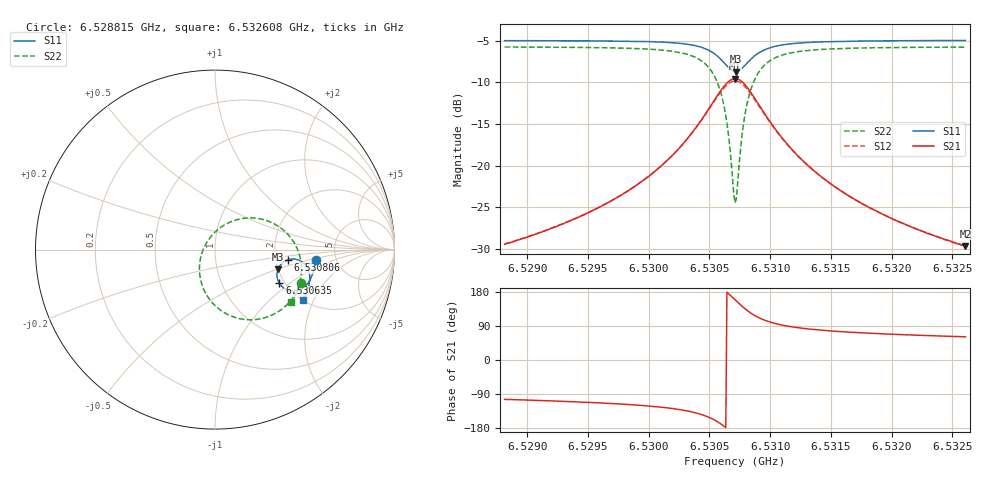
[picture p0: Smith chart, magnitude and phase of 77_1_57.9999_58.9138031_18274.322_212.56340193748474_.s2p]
#  HZ  S  RI  R  50.00
! Rohde & Schwarz Vector Network Analyzer
! Rohde-Schwarz,ZNB20-2Port,1311601062101988,3.16
! Created: UTC 3/21/2024, 12:53:44 AM
! freq[Hz]  re:S11  im:S11  re:S21  im:S21  re:S12  im:S12  re:S22  im:S22
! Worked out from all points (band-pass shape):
!   401 points, 6.528815 GHz to 6.532608 GHz, reference 50 ohm
!   highest |S21| = -9.55 dB at 6.530711 GHz (marker M1); lowest = -29.6 dB at 6.532608 GHz (marker M2)
!   |S21| within 3 dB of the highest: 6.530523 GHz to 6.530902 GHz (379.4 kHz wide, 0.00581 % of centre)
!   lowest |S11| = -8.7 dB at 6.530721 GHz (marker M3), VSWR 2.16, Z = 99.9 - j25.3 ohm
!   |S11| at or under -10 dB: nowhere
!   |S22| runs from -24.4 to -5.7 dB; largest |S21 - S12| = 0.014
!   S11 on the Smith chart (normalised r, x): 6.528815 GHz: 3.48, -0.58; 6.530635 GHz: 1.87, -0.84; 6.530806 GHz: 2.34, -0.32; 6.532608 GHz: 2.03, -1.66
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6.528815e9  0.5607 -0.0566  -0.00792 -0.0328  -0.00888 -0.0328  0.4814 -0.1865
6.5294503e9  0.5513 -0.1112  -0.018 -0.0468  -0.0192 -0.0465  0.4487 -0.2486
6.5298106e9  0.5401 -0.1465  -0.0314 -0.0617  -0.033 -0.0609  0.414 -0.2941
6.5300855e9  0.5238 -0.1783  -0.0543 -0.0806  -0.0565 -0.0791  0.3624 -0.3392
6.5303131e9  0.4942 -0.2104  -0.0998 -0.1032  -0.1029 -0.0995  0.2703 -0.3818
6.5304743e9  0.4458 -0.2298  -0.1768 -0.1095  -0.1795 -0.1017  0.1289 -0.3827
6.5305691e9  0.3959 -0.2213  -0.2548 -0.0766  -0.2531 -0.0655  0.000257 -0.3117
6.5306355e9  0.3586 -0.1877  -0.3087 -0.0073  -0.3009 0.00374  -0.0761 -0.1845
6.5306639e9  0.3483 -0.164  -0.3205 0.0368  -0.3102 0.046  -0.0869 -0.1092
6.5306924e9  0.3455 -0.137  -0.32 0.0859  -0.3078 0.0922  -0.0759 -0.0289
6.5307113e9  0.3483 -0.1184  -0.3114 0.1186  -0.2985 0.1226  -0.0554 0.0228
6.5307208e9  0.3512 -0.1094  -0.3047 0.1341  -0.2918 0.137  -0.0415 0.0471
6.5307303e9  0.355 -0.1008  -0.2965 0.1489  -0.2838 0.1507  -0.0253 0.0695
6.5307682e9  0.3776 -0.0727  -0.2524 0.1968  -0.2416 0.1946  0.056 0.1394
6.5308062e9  0.4066 -0.0568  -0.1998 0.2226  -0.1918 0.2188  0.1474 0.1724
6.5308725e9  0.4536 -0.0547  -0.1179 0.2261  -0.1139 0.2223  0.2851 0.1628
6.5309673e9  0.4953 -0.0765  -0.047 0.1935  -0.0452 0.1914  0.3998 0.0913
6.5311096e9  0.5204 -0.1134  -0.00365 0.1435  -0.00248 0.1428  0.4639 -0.01
6.5313466e9  0.5284 -0.1576  0.015 0.0941  0.0161 0.0939  0.4815 -0.1134
6.5316405e9  0.5239 -0.1949  0.0185 0.0639  0.0197 0.0635  0.4725 -0.1836
6.5319819e9  0.5141 -0.2284  0.0181 0.0455  0.019 0.0453  0.4556 -0.2339
6.5326077e9  0.4921 -0.278  0.016 0.0289  0.0164 0.0285  0.4233 -0.2944
